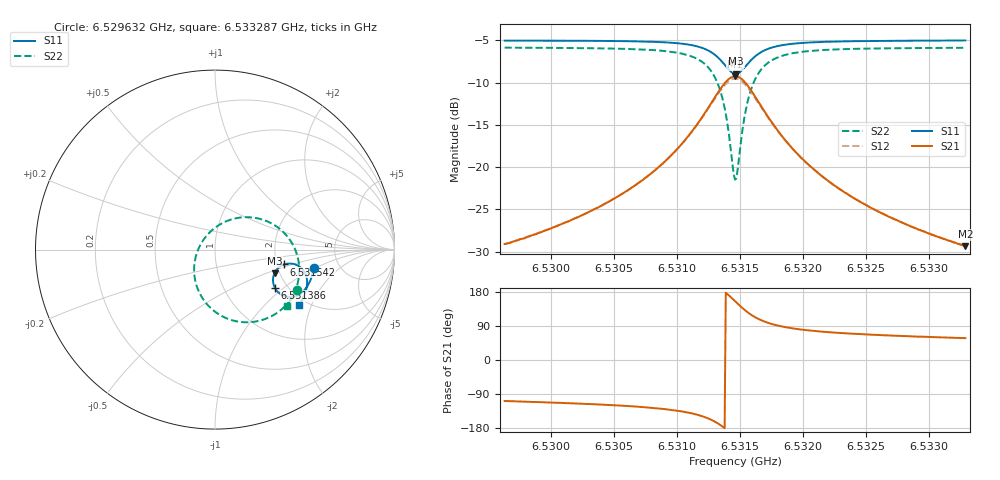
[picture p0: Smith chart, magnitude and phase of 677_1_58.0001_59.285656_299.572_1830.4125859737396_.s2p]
#  HZ  S  RI  R  50.00
! Rohde & Schwarz Vector Network Analyzer
! Rohde-Schwarz,ZNB20-2Port,1311601062101988,3.16
! Created: UTC 3/21/2024, 1:20:42 AM
! freq[Hz]  re:S11  im:S11  re:S21  im:S21  re:S12  im:S12  re:S22  im:S22
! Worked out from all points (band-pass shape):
!   401 points, 6.529632 GHz to 6.533287 GHz, reference 50 ohm
!   highest |S21| = -9.24 dB at 6.531459 GHz (marker M1); lowest = -29.4 dB at 6.533287 GHz (marker M2)
!   |S21| within 3 dB of the highest: 6.531278 GHz to 6.531644 GHz (365.5 kHz wide, 0.0056 % of centre)
!   lowest |S11| = -9.0 dB at 6.531468 GHz (marker M3), VSWR 2.11, Z = 94.1 - j28.3 ohm
!   |S11| at or under -10 dB: nowhere
!   |S22| runs from -21.5 to -5.9 dB; largest |S21 - S12| = 0.015
!   S11 on the Smith chart (normalised r, x): 6.529632 GHz: 3.23, -0.97; 6.531386 GHz: 1.72, -0.87; 6.531542 GHz: 2.20, -0.43; 6.533287 GHz: 1.83, -1.64
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6.5296319e9  0.5508 -0.1028  -0.0109 -0.0333  -0.0117 -0.0329  0.458 -0.2224
6.5302441e9  0.5372 -0.1549  -0.0222 -0.0468  -0.0234 -0.0462  0.4209 -0.2805
6.5305822e9  0.5238 -0.1874  -0.0364 -0.0606  -0.0381 -0.0597  0.384 -0.3218
6.5308563e9  0.5043 -0.2188  -0.0617 -0.0792  -0.0641 -0.0772  0.3273 -0.3641
6.5310665e9  0.4738 -0.2471  -0.1072 -0.0985  -0.1101 -0.0944  0.2364 -0.399
6.5312309e9  0.4205 -0.2638  -0.19 -0.1003  -0.1917 -0.0919  0.0866 -0.391
6.5313223e9  0.3698 -0.251  -0.268 -0.0614  -0.265 -0.0498  -0.04 -0.3096
6.5313589e9  0.3477 -0.2333  -0.2999 -0.0246  -0.2938 -0.0129  -0.0863 -0.2416
6.5313863e9  0.3337 -0.2133  -0.319 0.0136  -0.3096 0.0242  -0.1097 -0.1744
6.5314411e9  0.3237 -0.1596  -0.3245 0.1105  -0.3112 0.1156  -0.1 -0.015
6.5314594e9  0.328 -0.1405  -0.3136 0.1437  -0.3 0.1463  -0.0758 0.0368
6.5314685e9  0.3316 -0.1313  -0.3056 0.1593  -0.2921 0.1607  -0.06 0.0609
6.5314868e9  0.3418 -0.1146  -0.2855 0.1877  -0.2726 0.1868  -0.022 0.1033
6.5315416e9  0.3852 -0.0825  -0.2053 0.2402  -0.1969 0.2355  0.1184 0.1749
6.531569e9  0.4084 -0.0776  -0.1642 0.2477  -0.1582 0.2429  0.1874 0.1805
6.5316056e9  0.4361 -0.0794  -0.1167 0.2445  -0.1128 0.2401  0.2664 0.1665
6.5316969e9  0.4813 -0.1031  -0.0401 0.2075  -0.0385 0.2052  0.39 0.0881
6.531834e9  0.5069 -0.1432  0.00456 0.1516  0.00576 0.1509  0.4552 -0.0229
6.5320715e9  0.5131 -0.1908  0.0218 0.0962  0.0231 0.096  0.4686 -0.1353
6.5323183e9  0.5076 -0.2236  0.0236 0.0677  0.0247 0.0674  0.4574 -0.1989
6.5326837e9  0.495 -0.2596  0.0217 0.0458  0.0225 0.0455  0.4357 -0.2553
6.5332868e9  0.4706 -0.3066  0.0182 0.0288  0.0189 0.0285  0.4005 -0.313
